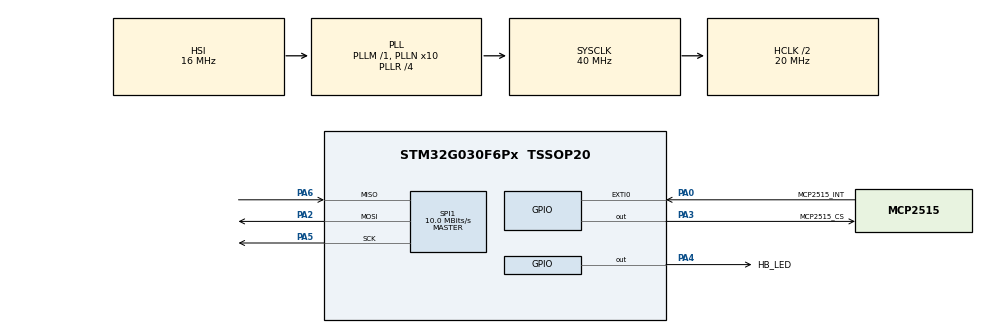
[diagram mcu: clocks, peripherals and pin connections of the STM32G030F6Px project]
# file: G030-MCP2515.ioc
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Mcu.Family=STM32G0
Mcu.Name=STM32G030F6Px
Mcu.Package=TSSOP20
NVIC.EXTI0_1_IRQn=true\:1\:0\:true\:true\:true\:1\:true\:true\:true
PA0.GPIO_Label=MCP2515_INT
PA0.GPIO_ModeDefaultEXTI=GPIO_MODE_IT_FALLING
PA0.GPIO_PuPd=GPIO_PULLUP
PA0.Signal=GPXTI0
PA13.Mode=Serial_Wire
PA13.Signal=SYS_SWDIO
PA14-BOOT0.Mode=Serial_Wire
PA14-BOOT0.Signal=SYS_SWCLK
PA14-BOOT0__PA15.StandardMode=true
PA2.Mode=Full_Duplex_Master
PA2.Signal=SPI1_MOSI
PA3.GPIO_Label=MCP2515_CS
PA3.Signal=GPIO_Output
PA4.GPIO_Label=HB_LED
PA4.Signal=GPIO_Output
PA5.Mode=Full_Duplex_Master
PA5.Signal=SPI1_SCK
PA6.Mode=Full_Duplex_Master
PA6.Signal=SPI1_MISO
PB0__PB1__PB2__PA8.StandardMode=true
PB3__PB4__PB5__PB6.StandardMode=true
PB7__PB8.StandardMode=true
PC14-OSC32_IN\ (PC14)__PB9.StandardMode=true
ProjectManager.HeapSize=0x200
ProjectManager.StackSize=0x400
ProjectManager.TargetToolchain=STM32CubeIDE
RCC.ADCFreq_Value=40000000
RCC.AHBCLKDivider=RCC_SYSCLK_DIV2
RCC.AHBFreq_Value=20000000
RCC.CortexFreq_Value=20000000
RCC.EXTERNAL_CLOCK_VALUE=12288000
RCC.HCLKFreq_Value=20000000
RCC.HSE_VALUE=8000000
RCC.HSI_VALUE=16000000
RCC.LSE_VALUE=32768
RCC.PLLN=10
RCC.PLLR=RCC_PLLR_DIV4
RCC.SYSCLKFreq_VALUE=40000000
RCC.SYSCLKSource=RCC_SYSCLKSOURCE_PLLCLK
RCC.VCOOutputFreq_Value=160000000
SPI1.BaudRatePrescaler=SPI_BAUDRATEPRESCALER_2
SPI1.CalculateBaudRate=10.0 MBits/s
SPI1.Direction=SPI_DIRECTION_2LINES
SPI1.Mode=SPI_MODE_MASTER
SPI1.VirtualType=VM_MASTER
board=custom

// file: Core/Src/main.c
/* USER CODE BEGIN Header */
/**
  ******************************************************************************
  * @file           : main.c
  * @brief          : Main program body
  ******************************************************************************
  * @attention
  *
  * Copyright (c) 2026 STMicroelectronics.
  * All rights reserved.
  *
  * This software is licensed under terms that can be found in the LICENSE file
  * in the root directory of this software component.
  * If no LICENSE file comes with this software, it is provided AS-IS.
  *
  ******************************************************************************
  */
/* USER CODE END Header */
#include "main.h"
#include "spi.h"
#include "gpio.h"

/* USER CODE BEGIN Includes */
#include "mcp2515.h"
/* USER CODE END Includes */

/* USER CODE BEGIN PV */

mcp2515_t mcp2515;
can_frame TxFrame;
can_frame RxFrame;
volatile uint8_t can_received_flag = 0;

/* USER CODE END PV */

void SystemClock_Config(void);
static void MX_NVIC_Init(void);

int main(void)
{

  /* MCU Configuration--------------------------------------------------------*/

  /* Reset of all peripherals, Initializes the Flash interface and the Systick. */
  HAL_Init();

  /* Configure the system clock */
  SystemClock_Config();

  /* Initialize all configured peripherals */
  MX_GPIO_Init();
  MX_SPI1_Init();

  /* Initialize interrupts */
  MX_NVIC_Init();
  /* USER CODE BEGIN 2 */
  // 1. Vincular o handle da SPI (verifique se é &hspi1 ou &hspi2 no seu CubeMX)
  mcp2515.spi_handle = &hspi1;

  // 2. Configurar os pinos (Ajuste para os nomes corretos da sua struct)
  mcp2515.cs_pin.gpio_port = MCP2515_CS_GPIO_Port;
  mcp2515.cs_pin.gpio_pin = MCP2515_CS_Pin;

  // 3. Configurar o Clock (O membro se chama 'clock', não 'osc')
  mcp2515.clock = MCP_8MHZ;

  // Agora o Setup inicial
  if (MCP_reset(&mcp2515) == ERROR_OK) {
	  MCP_setBitrate(&mcp2515, CAN_500KBPS);
	  MCP_setMode(&mcp2515, MODE_NORMAL);
  }

	HAL_GPIO_WritePin(HB_LED_GPIO_Port, HB_LED_Pin, GPIO_PIN_RESET);

  /* USER CODE END 2 */

  /* Infinite loop */
  /* USER CODE BEGIN WHILE */
  while (1)
  {

	  // 1. Verifica se o MCP2515 tem alguma mensagem no buffer de entrada
	// A função MCP_checkReceive retorna 1 se houver dados
	  if (can_received_flag)
	      {
	          can_received_flag = 0;
	          if (MCP_readMessage(&mcp2515, &RxFrame) == ERROR_OK)
	          {
	              if (RxFrame.can_id == 0x123)
	              {
	                  TxFrame.can_id = 0x124;
	                  TxFrame.data[0] = 0x4F; // 'O'
	                  TxFrame.data[1] = 0x4B; // 'K'
	                  MCP_sendMessage(&mcp2515, &TxFrame);
         }
	          }
	      }

//
//	  if (MCP_readMessage(&mcp2515, &RxFrame) == ERROR_OK)
//	      {
//	          // Se recebeu o PING legítimo do G474
//	          if (RxFrame.can_id == 0x123)
//	          {
//	              // Pisca o LED indicando: "Comunicação OK"
//	              HAL_GPIO_WritePin(HB_LED_GPIO_Port, HB_LED_Pin, GPIO_PIN_SET);
//	              HAL_Delay(50); // Deixa o LED aceso tempo suficiente para o olho ver
//	              HAL_GPIO_WritePin(HB_LED_GPIO_Port, HB_LED_Pin, GPIO_PIN_RESET);
//
//	              // Envia o PONG de volta
//	              TxFrame.can_id = 0x124;
//	              TxFrame.can_dlc = 2;
//	              TxFrame.data[0] = 'O'; TxFrame.data[1] = 'K';
//	              MCP_sendMessage(&mcp2515, &TxFrame);
//	          }
//	          // Se recebeu o ID do Babbling Idiot (0x000), NÃO faz nada com o LED.
//	          // O silêncio do LED provará que o Ping legítimo não está chegando.
//	      }

    /* USER CODE END WHILE */

  }
}

void SystemClock_Config(void)
{
  RCC_OscInitTypeDef RCC_OscInitStruct = {0};
  RCC_ClkInitTypeDef RCC_ClkInitStruct = {0};

  /** Configure the main internal regulator output voltage
  */
  HAL_PWREx_ControlVoltageScaling(PWR_REGULATOR_VOLTAGE_SCALE1);

  /** Initializes the RCC Oscillators according to the specified parameters
  * in the RCC_OscInitTypeDef structure.
  */
  RCC_OscInitStruct.OscillatorType = RCC_OSCILLATORTYPE_HSI;
  RCC_OscInitStruct.HSIState = RCC_HSI_ON;
  RCC_OscInitStruct.HSIDiv = RCC_HSI_DIV1;
  RCC_OscInitStruct.HSICalibrationValue = RCC_HSICALIBRATION_DEFAULT;
  RCC_OscInitStruct.PLL.PLLState = RCC_PLL_ON;
  RCC_OscInitStruct.PLL.PLLSource = RCC_PLLSOURCE_HSI;
  RCC_OscInitStruct.PLL.PLLM = RCC_PLLM_DIV1;
  RCC_OscInitStruct.PLL.PLLN = 10;
  RCC_OscInitStruct.PLL.PLLP = RCC_PLLP_DIV2;
  RCC_OscInitStruct.PLL.PLLR = RCC_PLLR_DIV4;
  if (HAL_RCC_OscConfig(&RCC_OscInitStruct) != HAL_OK)
  {
    Error_Handler();
  }

  /** Initializes the CPU, AHB and APB buses clocks
  */
  RCC_ClkInitStruct.ClockType = RCC_CLOCKTYPE_HCLK|RCC_CLOCKTYPE_SYSCLK
                              |RCC_CLOCKTYPE_PCLK1;
  RCC_ClkInitStruct.SYSCLKSource = RCC_SYSCLKSOURCE_PLLCLK;
  RCC_ClkInitStruct.AHBCLKDivider = RCC_SYSCLK_DIV2;
  RCC_ClkInitStruct.APB1CLKDivider = RCC_HCLK_DIV1;

  if (HAL_RCC_ClockConfig(&RCC_ClkInitStruct, FLASH_LATENCY_0) != HAL_OK)
  {
    Error_Handler();
  }
}

/**
  * @brief NVIC Configuration.
  * @retval None
  */
static void MX_NVIC_Init(void)
{
  /* EXTI0_1_IRQn interrupt configuration */
  HAL_NVIC_SetPriority(EXTI0_1_IRQn, 1, 0);
  HAL_NVIC_EnableIRQ(EXTI0_1_IRQn);
}

/* USER CODE BEGIN 4 */

void HAL_GPIO_EXTI_Falling_Callback(uint16_t GPIO_Pin)
{
    // Verifique se a interrupção veio do pino conectado ao INT do MCP
    if (GPIO_Pin == MCP2515_INT_Pin) // Substitua pelo nome do seu pino
    {

        can_received_flag = 1;
//		HAL_GPIO_TogglePin(HB_LED_GPIO_Port, HB_LED_Pin);

    }
//	HAL_GPIO_TogglePin(HB_LED_GPIO_Port, HB_LED_Pin);
//	HAL_Delay(1000);
}

/* USER CODE END 4 */

void Error_Handler(void)
{
  __disable_irq();
  while (1)
  {
  }
}
